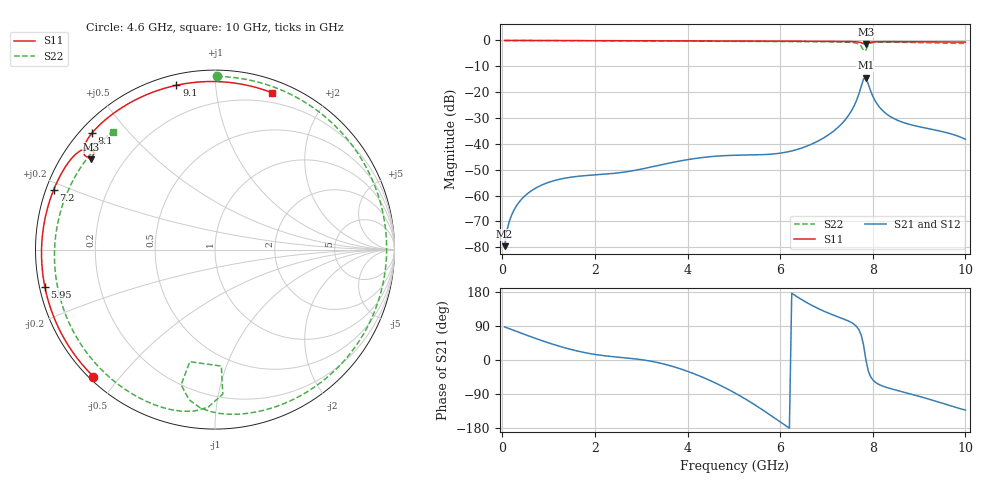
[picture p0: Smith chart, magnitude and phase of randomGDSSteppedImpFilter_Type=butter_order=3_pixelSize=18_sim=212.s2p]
! freq	dB(S11)	phase(S11)	dB(S12)	phase(S12)
!  dB(S21)	phase(S21)	dB(S22)	phase(S22)
!S-par simulation data
#  GHz  S  DB  R 50
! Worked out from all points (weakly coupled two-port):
!   200 points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, 50 MHz to 10 GHz, reference 50 ohm
!   highest |S21| = -14.40 dB at 7.85 GHz (marker M1); lowest = -79.5 dB at 50 MHz (marker M2)
!   lowest |S11| = -1.4 dB at 7.85 GHz (marker M3), VSWR 12.70, Z = 4.35 + j16.1 ohm
!   |S11| at or under -10 dB: nowhere
!   |S22| runs from -3.9 to 0.0 dB; largest |S21 - S12| = 0
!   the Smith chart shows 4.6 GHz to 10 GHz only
!   S11 on the Smith chart (normalised r, x): 4.6 GHz: 0.01, -0.43; 5.95 GHz: 0.02, -0.11; 7.2 GHz: 0.02, +0.18; 8.1 GHz: 0.03, +0.40; 9.1 GHz: 0.05, +0.79; 10 GHz: 0.11, +1.42
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0.05  -0.00 -1.7  -79.54 87.3  -79.54 87.3  -0.01 -3.1
0.2  -0.01 -6.6  -67.56 80.5  -67.56 80.5  -0.02 -12.4
0.5  -0.02 -16.3  -59.89 66.7  -59.89 66.7  -0.04 -30.8
1.15  -0.05 -37.1  -54.05 39.4  -54.05 39.4  -0.09 -69.7
1.75  -0.07 -55.6  -52.33 20.3  -52.33 20.3  -0.13 -104.2
2.65  -0.10 -82.0  -50.85 5.8  -50.85 5.8  -0.18 -154.5
3.4  -0.13 -102.6  -48.21 -8.0  -48.21 -8.0  -0.23 163.0
4.05  -0.15 -119.7  -45.94 -32.1  -45.94 -32.1  -0.27 124.0
4.6  -0.18 -133.7  -44.77 -60.6  -44.77 -60.6  -0.31 89.3
5.05  -0.20 -145.0  -44.37 -88.9  -44.37 -88.9  -0.33 60.1
5.95  -0.26 -167.6  -43.70 -159.0  -43.70 -159.0  -0.38 3.0
6.7  -0.32 173.1  -39.92 143.1  -39.92 143.1  -0.45 -40.7
7.2  -0.37 159.6  -34.39 116.2  -34.39 116.2  -0.55 -68.1
7.55  -0.45 149.1  -26.89 98.1  -26.89 98.1  -0.79 -88.4
7.75  -0.85 141.6  -17.81 66.1  -17.81 66.1  -2.20 -104.1
7.85  -1.37 144.0  -14.40 1.7  -14.40 1.7  -3.74 -86.9
7.95  -0.68 142.2  -19.36 -43.4  -19.36 -43.4  -1.12 -92.5
8.1  -0.50 136.5  -24.72 -62.3  -24.72 -62.3  -0.68 -105.0
8.35  -0.48 128.1  -29.09 -74.3  -29.09 -74.3  -0.66 -120.1
9.1  -0.53 103.2  -33.73 -99.2  -33.73 -99.2  -0.87 -162.7
9.6  -0.58 85.3  -35.68 -117.8  -35.68 -117.8  -1.06 163.6
10  -0.63 70.0  -38.21 -132.2  -38.21 -132.2  -1.20 130.9
